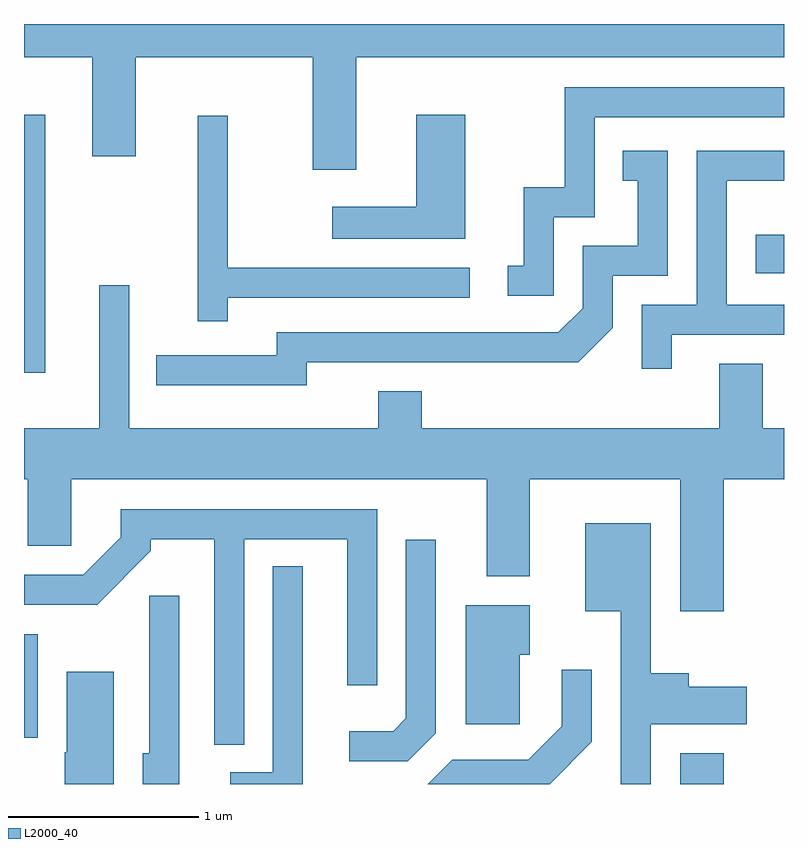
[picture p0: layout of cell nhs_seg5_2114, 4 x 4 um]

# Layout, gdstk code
import gdstk
lib = gdstk.Library(unit=1e-6, precision=1e-09)
def R(c, l, rs):  # rectangles x0, y0, x1, y1
    for r in rs: c.add(gdstk.rectangle(r[:2], r[2:], *l))
def P(c, l, *ps):  # polygons
    for p in ps: c.add(gdstk.Polygon(p, *l))
L2000_40 = (2000, 40)

nhs_seg5_2114 = lib.new_cell('nhs_seg5_2114')
R(nhs_seg5_2114, L2000_40, [(251.066,1464.072,251.294,1464.234), (247.611,1464.316,247.684,1464.859), (247.611,1466.236,247.724,1467.594), (251.461,1466.761,251.611,1466.964)])
P(nhs_seg5_2114, L2000_40, [(249.359,1467.896),(251.611,1467.896),(251.611,1468.072),(247.611,1468.072),(247.611,1467.896),(247.971,1467.896),(247.971,1467.376),(248.199,1467.376),(248.199,1467.896),(249.131,1467.896),(249.131,1467.306),(249.359,1467.306)],
  [(250.399,1467.056),(250.614,1467.056),(250.614,1467.581),(251.611,1467.581),(251.611,1467.739),(250.456,1467.739),(250.456,1467.214),(250.241,1467.214),(250.241,1466.799),(250.158,1466.799),(250.158,1466.641),(250.399,1466.641)],
  [(249.934,1467.594),(249.676,1467.594),(249.676,1467.109),(249.233,1467.109),(249.233,1466.941),(249.934,1466.941)],
  [(248.684,1466.631),(249.958,1466.631),(249.958,1466.789),(248.684,1466.789),(248.684,1467.588),(248.526,1467.588),(248.526,1466.508),(248.684,1466.508)],
  [(251.019,1466.436),(251.611,1466.436),(251.611,1466.594),(251.309,1466.594),(251.309,1467.246),(251.611,1467.246),(251.611,1467.404),(251.151,1467.404),(251.151,1466.594),(250.861,1466.594),(250.861,1466.258),(251.019,1466.258)],
  [(249.099,1466.291),(250.527,1466.291),(250.709,1466.474),(250.709,1466.746),(250.999,1466.746),(250.999,1467.404),(250.763,1467.404),(250.763,1467.246),(250.841,1467.246),(250.841,1466.904),(250.551,1466.904),(250.551,1466.577),(250.424,1466.449),(248.941,1466.449),(248.941,1466.329),(248.308,1466.329),(248.308,1466.171),(249.099,1466.171)],
  [(251.294,1465.676),(251.611,1465.676),(251.611,1465.944),(251.499,1465.944),(251.499,1466.284),(251.271,1466.284),(251.271,1465.944),(249.704,1465.944),(249.704,1466.139),(249.476,1466.139),(249.476,1465.944),(248.164,1465.944),(248.164,1466.698),(248.006,1466.698),(248.006,1465.944),(247.611,1465.944),(247.611,1465.676),(247.631,1465.676),(247.631,1465.326),(247.859,1465.326),(247.859,1465.676),(250.046,1465.676),(250.046,1465.166),(250.274,1465.166),(250.274,1465.676),(251.066,1465.676),(251.066,1464.981),(251.294,1464.981)],
  [(248.769,1465.361),(249.311,1465.361),(249.311,1464.593),(249.469,1464.593),(249.469,1465.519),(248.121,1465.519),(248.121,1465.372),(247.924,1465.174),(247.611,1465.174),(247.611,1465.016),(247.997,1465.016),(248.279,1465.299),(248.279,1465.361),(248.611,1465.361),(248.611,1464.278),(248.769,1464.278)],
  [(250.909,1464.386),(251.414,1464.386),(251.414,1464.584),(251.109,1464.584),(251.109,1464.654),(250.909,1464.654),(250.909,1465.444),(250.566,1465.444),(250.566,1464.981),(250.751,1464.981),(250.751,1464.072),(250.909,1464.072)],
  [(249.779,1464.339),(249.779,1465.358),(249.621,1465.358),(249.621,1464.417),(249.554,1464.349),(249.323,1464.349),(249.323,1464.191),(249.632,1464.191)],
  [(249.079,1465.218),(248.921,1465.218),(248.921,1464.134),(248.696,1464.134),(248.696,1464.072),(249.079,1464.072)],
  [(248.429,1465.063),(248.271,1465.063),(248.271,1464.234),(248.236,1464.234),(248.236,1464.072),(248.429,1464.072)],
  [(250.219,1464.751),(250.274,1464.751),(250.274,1465.014),(249.936,1465.014),(249.936,1464.386),(250.219,1464.386)],
  [(250.599,1464.294),(250.599,1464.673),(250.441,1464.673),(250.441,1464.377),(250.264,1464.199),(249.864,1464.199),(249.737,1464.072),(250.378,1464.072)],
  [(248.084,1464.664),(247.836,1464.664),(247.836,1464.24),(247.826,1464.24),(247.826,1464.072),(248.084,1464.072)])

lib.write_gds('nhs_seg5_2114.gds')
